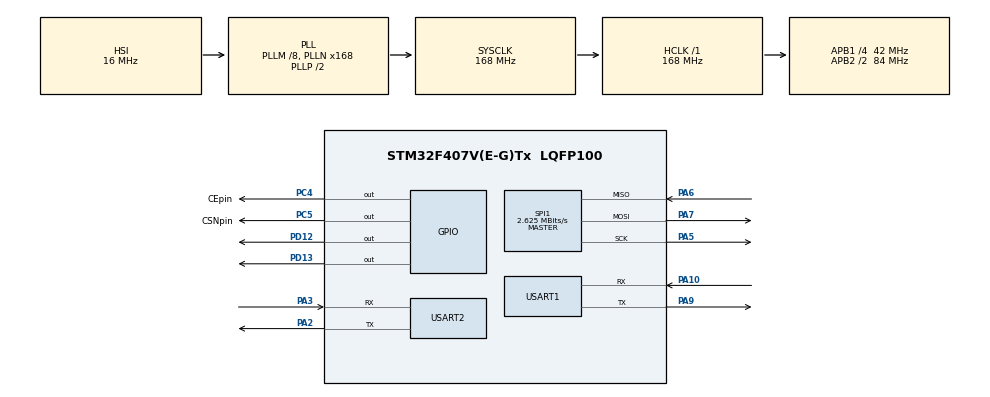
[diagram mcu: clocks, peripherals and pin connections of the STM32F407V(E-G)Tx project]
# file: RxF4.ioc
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Mcu.Family=STM32F4
Mcu.Name=STM32F407V(E-G)Tx
Mcu.Package=LQFP100
NVIC.PriorityGroup=NVIC_PRIORITYGROUP_4
PA10.Mode=Asynchronous
PA10.Signal=USART1_RX
PA2.Mode=Asynchronous
PA2.Signal=USART2_TX
PA3.Mode=Asynchronous
PA3.Signal=USART2_RX
PA5.Mode=Full_Duplex_Master
PA5.Signal=SPI1_SCK
PA6.Mode=Full_Duplex_Master
PA6.Signal=SPI1_MISO
PA7.Mode=Full_Duplex_Master
PA7.Signal=SPI1_MOSI
PA9.Mode=Asynchronous
PA9.Signal=USART1_TX
PC4.GPIO_Label=CEpin
PC4.Signal=GPIO_Output
PC5.GPIO_Label=CSNpin
PC5.Signal=GPIO_Output
PD12.Signal=GPIO_Output
PD13.Signal=GPIO_Output
PH0-OSC_IN.Mode=HSE-External-Oscillator
PH0-OSC_IN.Signal=RCC_OSC_IN
PH1-OSC_OUT.Mode=HSE-External-Oscillator
PH1-OSC_OUT.Signal=RCC_OSC_OUT
ProjectManager.HeapSize=0x200
ProjectManager.StackSize=0x400
ProjectManager.TargetToolchain=MDK-ARM V5.32
RCC.48MHZClocksFreq_Value=84000000
RCC.AHBFreq_Value=168000000
RCC.APB1CLKDivider=RCC_HCLK_DIV4
RCC.APB1Freq_Value=42000000
RCC.APB1TimFreq_Value=84000000
RCC.APB2CLKDivider=RCC_HCLK_DIV2
RCC.APB2Freq_Value=84000000
RCC.APB2TimFreq_Value=168000000
RCC.CortexFreq_Value=168000000
RCC.HCLKFreq_Value=168000000
RCC.HSE_VALUE=8000000
RCC.HSI_VALUE=16000000
RCC.LSE_VALUE=32768
RCC.PLLM=8
RCC.PLLN=168
RCC.SYSCLKFreq_VALUE=168000000
RCC.SYSCLKSource=RCC_SYSCLKSOURCE_PLLCLK
RCC.VCOOutputFreq_Value=336000000
SPI1.BaudRatePrescaler=SPI_BAUDRATEPRESCALER_32
SPI1.CalculateBaudRate=2.625 MBits/s
SPI1.Direction=SPI_DIRECTION_2LINES
SPI1.Mode=SPI_MODE_MASTER
SPI1.VirtualType=VM_MASTER
USART1.VirtualMode=VM_ASYNC
USART2.VirtualMode=VM_ASYNC
board=custom

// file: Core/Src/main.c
/* USER CODE BEGIN Header */
/**
  ******************************************************************************
  * @file           : main.c
  * @brief          : Main program body
  ******************************************************************************
  * @attention
  *
  * Copyright (c) 2022 STMicroelectronics.
  * All rights reserved.
  *
  * This software is licensed under terms that can be found in the LICENSE file
  * in the root directory of this software component.
  * If no LICENSE file comes with this software, it is provided AS-IS.
  *
  ******************************************************************************
  */
/* USER CODE END Header */
#include "main.h"

/* USER CODE BEGIN Includes */
#include "MY_NRF24.h"
/* USER CODE END Includes */

SPI_HandleTypeDef hspi1;

UART_HandleTypeDef huart1;
UART_HandleTypeDef huart2;

void SystemClock_Config(void);
static void MX_GPIO_Init(void);
static void MX_SPI1_Init(void);
static void MX_USART1_UART_Init(void);
static void MX_USART2_UART_Init(void);

/* USER CODE BEGIN 0 */
uint64_t RxpipeAddrs = 0x11223344AA;
char myRxData[50];
char myAckPayload[32] = "Ack by STM32F1!";
/* USER CODE END 0 */

int main(void)
{

  /* MCU Configuration--------------------------------------------------------*/

  /* Reset of all peripherals, Initializes the Flash interface and the Systick. */
  HAL_Init();

  /* Configure the system clock */
  SystemClock_Config();

  /* Initialize all configured peripherals */
  MX_GPIO_Init();
  MX_SPI1_Init();
  MX_USART1_UART_Init();
  MX_USART2_UART_Init();
  /* USER CODE BEGIN 2 */

	NRF24_begin(CEpin_GPIO_Port,CSNpin_Pin,CEpin_Pin,hspi1);
  nrf24_DebugUART_Init(huart2);

	printRadioSettings();

	NRF24_setAutoAck(true);
	NRF24_setChannel(52);
	NRF24_setPayloadSize(32);
	NRF24_openReadingPipe(1, RxpipeAddrs);

	NRF24_enableDynamicPayloads();
	NRF24_enableAckPayload();

	NRF24_startListening();

  /* USER CODE END 2 */

  /* Infinite loop */
  /* USER CODE BEGIN WHILE */
  while (1)
  {
		//HAL_UART_Transmit(&huart1,(uint8_t *)"Nhan\r\n",6,100);
    /* USER CODE END WHILE */

    /* USER CODE BEGIN 3 */
		if(NRF24_available())
		{
			HAL_GPIO_TogglePin(GPIOD,GPIO_PIN_12);
			NRF24_read(myRxData,32);
			NRF24_writeAckPayload(1, myAckPayload,32);
			myRxData[32]='\r';
			myRxData[33]='\n';
			HAL_UART_Transmit(&huart2,(uint8_t *)myRxData,34,100);
		}
  }
  /* USER CODE END 3 */
}

void SystemClock_Config(void)
{
  RCC_OscInitTypeDef RCC_OscInitStruct = {0};
  RCC_ClkInitTypeDef RCC_ClkInitStruct = {0};

  /** Configure the main internal regulator output voltage
  */
  __HAL_RCC_PWR_CLK_ENABLE();
  __HAL_PWR_VOLTAGESCALING_CONFIG(PWR_REGULATOR_VOLTAGE_SCALE1);
  /** Initializes the RCC Oscillators according to the specified parameters
  * in the RCC_OscInitTypeDef structure.
  */
  RCC_OscInitStruct.OscillatorType = RCC_OSCILLATORTYPE_HSI;
  RCC_OscInitStruct.HSIState = RCC_HSI_ON;
  RCC_OscInitStruct.HSICalibrationValue = RCC_HSICALIBRATION_DEFAULT;
  RCC_OscInitStruct.PLL.PLLState = RCC_PLL_ON;
  RCC_OscInitStruct.PLL.PLLSource = RCC_PLLSOURCE_HSI;
  RCC_OscInitStruct.PLL.PLLM = 8;
  RCC_OscInitStruct.PLL.PLLN = 168;
  RCC_OscInitStruct.PLL.PLLP = RCC_PLLP_DIV2;
  RCC_OscInitStruct.PLL.PLLQ = 4;
  if (HAL_RCC_OscConfig(&RCC_OscInitStruct) != HAL_OK)
  {
    Error_Handler();
  }
  /** Initializes the CPU, AHB and APB buses clocks
  */
  RCC_ClkInitStruct.ClockType = RCC_CLOCKTYPE_HCLK|RCC_CLOCKTYPE_SYSCLK
                              |RCC_CLOCKTYPE_PCLK1|RCC_CLOCKTYPE_PCLK2;
  RCC_ClkInitStruct.SYSCLKSource = RCC_SYSCLKSOURCE_PLLCLK;
  RCC_ClkInitStruct.AHBCLKDivider = RCC_SYSCLK_DIV1;
  RCC_ClkInitStruct.APB1CLKDivider = RCC_HCLK_DIV4;
  RCC_ClkInitStruct.APB2CLKDivider = RCC_HCLK_DIV2;

  if (HAL_RCC_ClockConfig(&RCC_ClkInitStruct, FLASH_LATENCY_5) != HAL_OK)
  {
    Error_Handler();
  }
}

static void MX_SPI1_Init(void)
{

  /* SPI1 parameter configuration*/
  hspi1.Instance = SPI1;
  hspi1.Init.Mode = SPI_MODE_MASTER;
  hspi1.Init.Direction = SPI_DIRECTION_2LINES;
  hspi1.Init.DataSize = SPI_DATASIZE_8BIT;
  hspi1.Init.CLKPolarity = SPI_POLARITY_LOW;
  hspi1.Init.CLKPhase = SPI_PHASE_1EDGE;
  hspi1.Init.NSS = SPI_NSS_SOFT;
  hspi1.Init.BaudRatePrescaler = SPI_BAUDRATEPRESCALER_32;
  hspi1.Init.FirstBit = SPI_FIRSTBIT_MSB;
  hspi1.Init.TIMode = SPI_TIMODE_DISABLE;
  hspi1.Init.CRCCalculation = SPI_CRCCALCULATION_DISABLE;
  hspi1.Init.CRCPolynomial = 10;
  if (HAL_SPI_Init(&hspi1) != HAL_OK)
  {
    Error_Handler();
  }

}

static void MX_USART1_UART_Init(void)
{

  huart1.Instance = USART1;
  huart1.Init.BaudRate = 115200;
  huart1.Init.WordLength = UART_WORDLENGTH_8B;
  huart1.Init.StopBits = UART_STOPBITS_1;
  huart1.Init.Parity = UART_PARITY_NONE;
  huart1.Init.Mode = UART_MODE_TX_RX;
  huart1.Init.HwFlowCtl = UART_HWCONTROL_NONE;
  huart1.Init.OverSampling = UART_OVERSAMPLING_16;
  if (HAL_UART_Init(&huart1) != HAL_OK)
  {
    Error_Handler();
  }

}

static void MX_USART2_UART_Init(void)
{

  huart2.Instance = USART2;
  huart2.Init.BaudRate = 115200;
  huart2.Init.WordLength = UART_WORDLENGTH_8B;
  huart2.Init.StopBits = UART_STOPBITS_1;
  huart2.Init.Parity = UART_PARITY_NONE;
  huart2.Init.Mode = UART_MODE_TX_RX;
  huart2.Init.HwFlowCtl = UART_HWCONTROL_NONE;
  huart2.Init.OverSampling = UART_OVERSAMPLING_16;
  if (HAL_UART_Init(&huart2) != HAL_OK)
  {
    Error_Handler();
  }

}

static void MX_GPIO_Init(void)
{
  GPIO_InitTypeDef GPIO_InitStruct = {0};

  /* GPIO Ports Clock Enable */
  __HAL_RCC_GPIOH_CLK_ENABLE();
  __HAL_RCC_GPIOA_CLK_ENABLE();
  __HAL_RCC_GPIOC_CLK_ENABLE();
  __HAL_RCC_GPIOD_CLK_ENABLE();

  /*Configure GPIO pin Output Level */
  HAL_GPIO_WritePin(GPIOC, CEpin_Pin|CSNpin_Pin, GPIO_PIN_RESET);

  /*Configure GPIO pin Output Level */
  HAL_GPIO_WritePin(GPIOD, GPIO_PIN_12|GPIO_PIN_13, GPIO_PIN_RESET);

  /*Configure GPIO pins : CEpin_Pin CSNpin_Pin */
  GPIO_InitStruct.Pin = CEpin_Pin|CSNpin_Pin;
  GPIO_InitStruct.Mode = GPIO_MODE_OUTPUT_PP;
  GPIO_InitStruct.Pull = GPIO_NOPULL;
  GPIO_InitStruct.Speed = GPIO_SPEED_FREQ_LOW;
  HAL_GPIO_Init(GPIOC, &GPIO_InitStruct);

  /*Configure GPIO pins : PD12 PD13 */
  GPIO_InitStruct.Pin = GPIO_PIN_12|GPIO_PIN_13;
  GPIO_InitStruct.Mode = GPIO_MODE_OUTPUT_PP;
  GPIO_InitStruct.Pull = GPIO_NOPULL;
  GPIO_InitStruct.Speed = GPIO_SPEED_FREQ_LOW;
  HAL_GPIO_Init(GPIOD, &GPIO_InitStruct);

}

void Error_Handler(void)
{
  __disable_irq();
  while (1)
  {
  }
}
